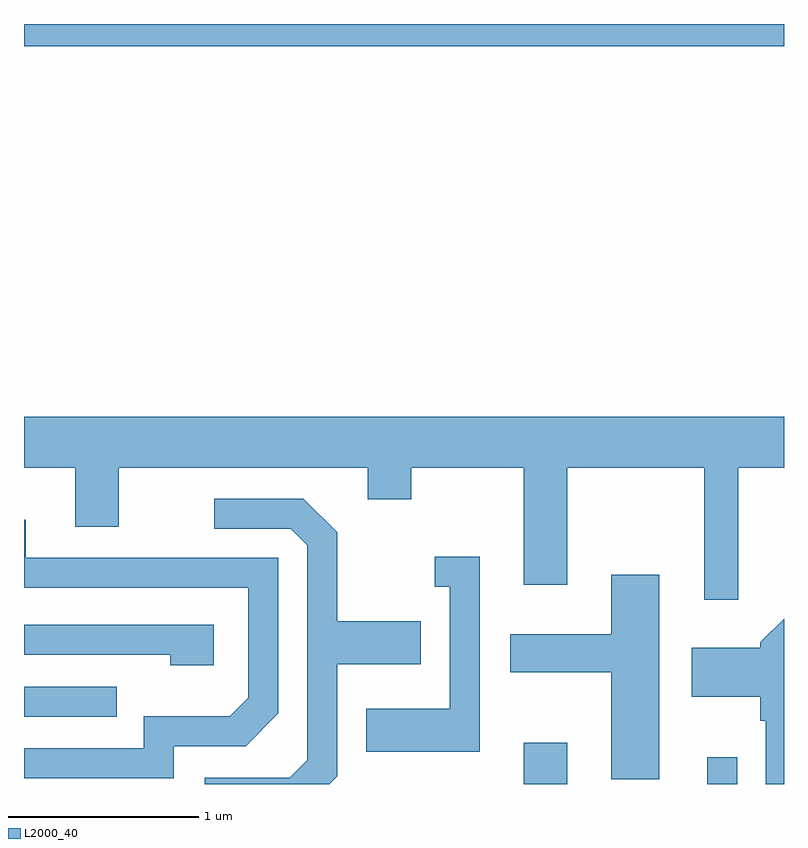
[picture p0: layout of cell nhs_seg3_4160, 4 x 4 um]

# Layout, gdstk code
import gdstk
lib = gdstk.Library(unit=1e-6, precision=1e-09)
def R(c, l, rs):  # rectangles x0, y0, x1, y1
    for r in rs: c.add(gdstk.rectangle(r[:2], r[2:], *l))
def P(c, l, *ps):  # polygons
    for p in ps: c.add(gdstk.Polygon(p, *l))
L2000_40 = (2000, 40)

nhs_seg3_4160 = lib.new_cell('nhs_seg3_4160')
R(nhs_seg3_4160, L2000_40, [(310.241,1139.892,310.469,1140.109), (311.206,1139.892,311.364,1140.033), (307.611,1140.246,308.098,1140.404), (307.611,1143.776,311.611,1143.892)])
P(nhs_seg3_4160, L2000_40, [(311.369,1141.556),(311.611,1141.556),(311.611,1141.824),(307.611,1141.824),(307.611,1141.556),(307.881,1141.556),(307.881,1141.246),(308.109,1141.246),(308.109,1141.556),(309.421,1141.556),(309.421,1141.391),(309.649,1141.391),(309.649,1141.556),(310.241,1141.556),(310.241,1140.941),(310.469,1140.941),(310.469,1141.556),(311.191,1141.556),(311.191,1140.861),(311.369,1140.861)],
  [(309.259,1139.934),(309.259,1140.521),(309.699,1140.521),(309.699,1140.749),(309.259,1140.749),(309.259,1141.217),(309.082,1141.394),(308.613,1141.394),(308.613,1141.236),(309.014,1141.236),(309.101,1141.149),(309.101,1140.017),(309.009,1139.924),(308.563,1139.924),(308.563,1139.892),(309.217,1139.892)],
  [(308.399,1140.091),(308.777,1140.091),(308.949,1140.264),(308.949,1141.084),(307.619,1141.084),(307.619,1141.283),(307.611,1141.283),(307.611,1140.926),(308.791,1140.926),(308.791,1140.347),(308.694,1140.249),(308.241,1140.249),(308.241,1140.079),(307.611,1140.079),(307.611,1139.921),(308.399,1139.921)],
  [(310.009,1141.089),(309.773,1141.089),(309.773,1140.931),(309.851,1140.931),(309.851,1140.289),(309.411,1140.289),(309.411,1140.061),(310.009,1140.061)],
  [(310.954,1140.994),(310.701,1140.994),(310.701,1140.679),(310.171,1140.679),(310.171,1140.481),(310.701,1140.481),(310.701,1139.916),(310.954,1139.916)],
  [(311.611,1140.762),(311.486,1140.637),(311.486,1140.609),(311.126,1140.609),(311.126,1140.351),(311.486,1140.351),(311.486,1140.226),(311.516,1140.226),(311.516,1139.892),(311.611,1139.892)],
  [(308.609,1140.729),(307.611,1140.729),(307.611,1140.571),(308.381,1140.571),(308.381,1140.516),(308.609,1140.516)])

lib.write_gds('nhs_seg3_4160.gds')
